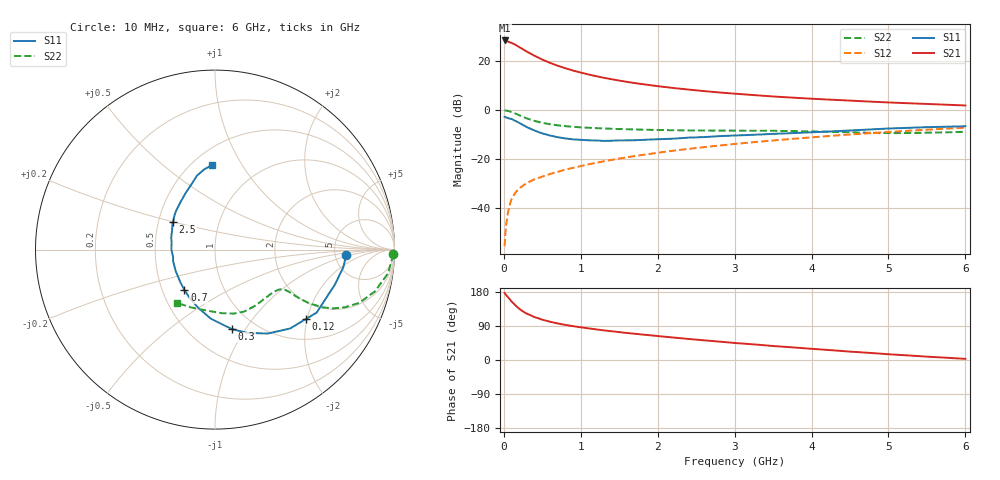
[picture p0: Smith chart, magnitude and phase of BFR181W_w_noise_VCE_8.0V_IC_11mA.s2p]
! Infineon Technologies  Discrete & RF Semiconductors
! BFR181W
! VCE =  8.0 V,  IC =  11 mA
! Common Emitter S-Parameters:  Jan 2017
# GHz  S  MA  R  50
!  f  S11  S21  S12  S22
! GHz  MAG  ANG  MAG  ANG  MAG  ANG  MAG  ANG
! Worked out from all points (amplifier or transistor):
!   77 points, 10 MHz to 6 GHz, reference 50 ohm
!   highest |S21| = 28.4 dB at 10 MHz (marker M1)
!   |S21| within 3 dB of that: start of sweep to 216.1 MHz
!   unconditionally stable (mu >= 1): 1.043 GHz to 2.843 GHz
!   at 130 MHz: K = 0.28, MSG = 30.8 dB, |S12| = -34.6 dB
!   at 2.2 GHz: K = 1.04, MAG = 11.6 dB, |S12| = -16.5 dB
!   at 6 GHz: K = 0.84, MSG = 4.5 dB, |S12| = -7.1 dB
!   lowest NFmin = 1.29 dB at 450 MHz
!   S11 on the Smith chart (normalised r, x): 10 MHz: 6.36, -0.77; 120 MHz: 1.51, -1.97; 300 MHz: 0.78, -0.87; 700 MHz: 0.65, -0.32; 2.5 GHz: 0.60, +0.20; 6 GHz: 0.62, +0.75
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0.01  0.7317 -2.2  26.38 177.1  0.0017 84.1  0.9923 -1.5
0.02  0.7219 -7.7  26.1 173.8  0.0031 81.8  0.9888 -2.9
0.05  0.6959 -16.3  25.24 166.6  0.0076 83.5  0.9728 -7.9
0.1  0.6662 -31.8  23.57 154.5  0.0154 77.0  0.9195 -14.8
0.12  0.6376 -37.3  22.67 150.6  0.0176 74.1  0.8933 -16.9
0.15  0.607 -46.4  21.55 144.2  0.0209 70.8  0.8565 -20.3
0.2  0.5529 -57.7  19.32 135.2  0.0255 68.0  0.7908 -24.0
0.25  0.4991 -68.6  17.38 128.0  0.0291 65.0  0.7321 -26.6
0.3  0.453 -78.0  15.59 122.1  0.033 63.5  0.6802 -28.2
0.4  0.3858 -93.4  12.82 113.0  0.0391 62.8  0.6048 -29.7
0.5  0.3375 -106.1  10.75 106.4  0.0444 62.9  0.5535 -30.0
0.6  0.3052 -117.2  9.234 101.0  0.0502 63.5  0.5176 -30.0
0.7  0.2822 -127.2  8.063 96.5  0.0554 64.7  0.4922 -29.7
0.9  0.2548 -144.2  6.426 89.3  0.0669 65.6  0.4593 -29.8
1.1  0.244 -158.1  5.356 83.5  0.0789 67.1  0.4395 -30.3
1.5  0.243 -179.8  4.016 73.6  0.1036 67.7  0.4139 -33.2
2.1  0.2594 157.8  2.965 61.3  0.1427 67.0  0.3932 -40.9
2.5  0.2799 146.9  2.543 53.8  0.1698 65.5  0.3864 -47.7
3.1  0.3095 133.2  2.117 43.5  0.2124 62.4  0.3824 -58.2
4.1  0.361 115.7  1.685 28.1  0.2881 56.0  0.3673 -75.8
5.1  0.4293 102.4  1.419 14.0  0.3683 47.6  0.342 -101.0
6  0.4717 91.9  1.25 3.0  0.4414 39.0  0.3645 -125.6
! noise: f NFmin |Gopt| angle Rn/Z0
0.45  1.29  0.12  17  0.21
0.9  1.33  0.12  31  0.21
1.9  1.76  0.04  -171  0.2
2.4  1.95  0.05  -122  0.25
